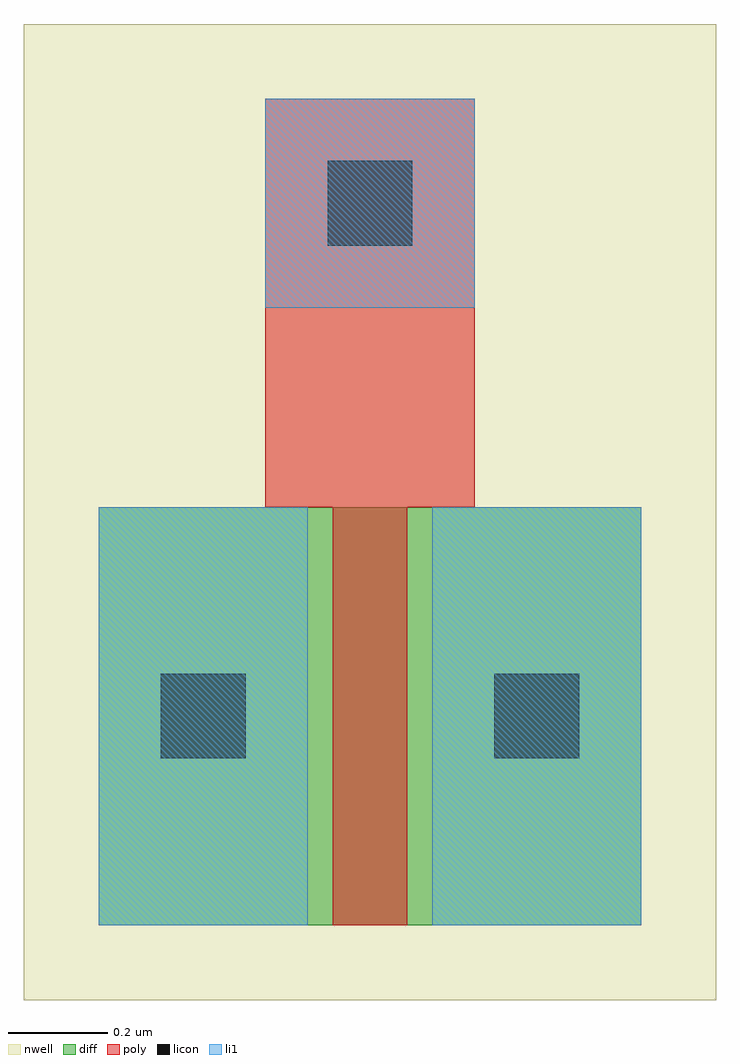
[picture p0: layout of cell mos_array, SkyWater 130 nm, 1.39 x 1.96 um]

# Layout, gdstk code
import gdstk
lib = gdstk.Library(unit=1e-6, precision=1e-09)
def R(c, l, rs):  # rectangles x0, y0, x1, y1
    for r in rs: c.add(gdstk.rectangle(r[:2], r[2:], *l))
nwell = (64, 20)
diff = (65, 20)
poly = (66, 20)
licon = (66, 44)
li1 = (67, 20)

mos_array = lib.new_cell('mos_array')
R(mos_array, nwell, [(-0.15,-0.15,1.24,1.81)])
R(mos_array, diff, [(0,0,1.09,0.84)])
R(mos_array, poly, [(0.47,0,0.62,0.84), (0.335,0.84,0.755,1.66)])
R(mos_array, licon, [(0.125,0.335,0.295,0.505), (0.795,0.335,0.965,0.505), (0.46,1.365,0.63,1.535)])
R(mos_array, li1, [(0,0,0.42,0.84), (0.67,0,1.09,0.84), (0.335,1.24,0.755,1.66)])

lib.write_gds('mos_array.gds')
